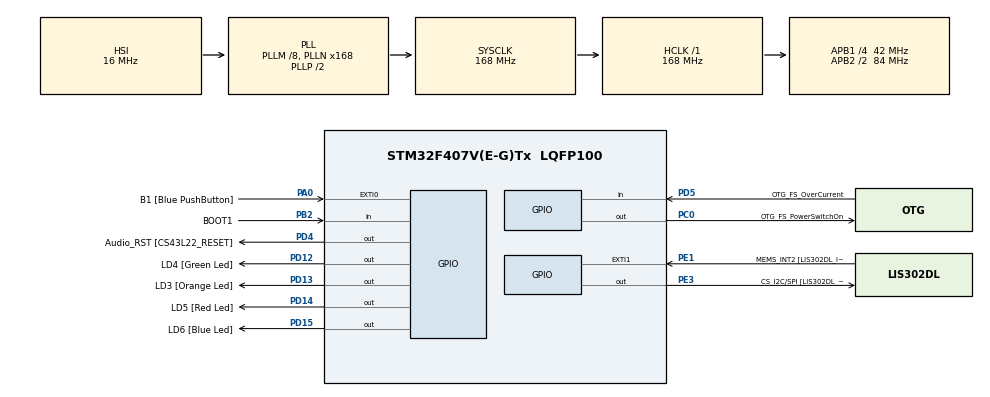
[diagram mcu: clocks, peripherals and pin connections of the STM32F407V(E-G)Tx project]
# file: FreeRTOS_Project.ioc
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Mcu.Family=STM32F4
Mcu.Name=STM32F407V(E-G)Tx
Mcu.Package=LQFP100
NVIC.PriorityGroup=NVIC_PRIORITYGROUP_4
NVIC.TIM6_DAC_IRQn=true\:0\:0\:false\:false\:true\:false\:true\:true
NVIC.TimeBase=TIM6_DAC_IRQn
NVIC.TimeBaseIP=TIM6
PA0-WKUP.GPIO_Label=B1 [Blue PushButton]
PA0-WKUP.Signal=GPXTI0
PA10.GPIO_Label=OTG_FS_ID
PA10.GPIO_Mode=GPIO_MODE_AF_PP
PA10.GPIO_PuPd=GPIO_NOPULL
PA10.GPIO_Speed=GPIO_SPEED_FREQ_LOW
PA10.Signal=USB_OTG_FS_ID
PA11.GPIO_Label=OTG_FS_DM
PA11.GPIO_Mode=GPIO_MODE_AF_PP
PA11.GPIO_PuPd=GPIO_NOPULL
PA11.GPIO_Speed=GPIO_SPEED_FREQ_LOW
PA11.Signal=USB_OTG_FS_DM
PA12.GPIO_Label=OTG_FS_DP
PA12.GPIO_Mode=GPIO_MODE_AF_PP
PA12.GPIO_PuPd=GPIO_NOPULL
PA12.GPIO_Speed=GPIO_SPEED_FREQ_LOW
PA12.Signal=USB_OTG_FS_DP
PA13.GPIO_Label=SWDIO
PA13.Signal=SYS_JTMS-SWDIO
PA14.GPIO_Label=SWCLK
PA14.Signal=SYS_JTCK-SWCLK
PA4.GPIO_Label=I2S3_WS [CS43L22_LRCK]
PA4.GPIO_Mode=GPIO_MODE_AF_PP
PA4.GPIO_PuPd=GPIO_NOPULL
PA4.GPIO_Speed=GPIO_SPEED_FREQ_LOW
PA4.Signal=I2S3_WS
PA5.GPIO_Label=SPI1_SCK [LIS302DL_SCL/SPC]
PA5.GPIO_Mode=GPIO_MODE_AF_PP
PA5.GPIO_PuPd=GPIO_NOPULL
PA5.GPIO_Speed=GPIO_SPEED_FREQ_LOW
PA5.Signal=SPI1_SCK
PA6.GPIO_Label=SPI1_MISO [LIS302DL_SDO]
PA6.GPIO_Mode=GPIO_MODE_AF_PP
PA6.GPIO_PuPd=GPIO_NOPULL
PA6.GPIO_Speed=GPIO_SPEED_FREQ_LOW
PA6.Signal=SPI1_MISO
PA7.GPIO_Label=SPI1_MOSI [LIS302DL_SDA/SDI/SDO]
PA7.GPIO_Mode=GPIO_MODE_AF_PP
PA7.GPIO_PuPd=GPIO_NOPULL
PA7.GPIO_Speed=GPIO_SPEED_FREQ_LOW
PA7.Signal=SPI1_MOSI
PA9.GPIO_Label=VBUS_FS
PA9.GPIO_Mode=GPIO_MODE_INPUT
PA9.GPIO_PuPd=GPIO_NOPULL
PA9.Signal=USB_OTG_FS_VBUS
PB10.GPIO_Label=CLK_IN [MP45DT02_CLK]
PB10.GPIO_Mode=GPIO_MODE_AF_PP
PB10.GPIO_PuPd=GPIO_NOPULL
PB10.GPIO_Speed=GPIO_SPEED_FREQ_LOW
PB10.Signal=I2S2_CK
PB2.GPIO_Label=BOOT1
PB2.GPIO_Mode=GPIO_MODE_INPUT
PB2.GPIO_PuPd=GPIO_NOPULL
PB2.Signal=GPIO_Input
PB3.GPIO_Label=SWO
PB3.Signal=SYS_JTDO-SWO
PB6.GPIO_Label=Audio_SCL [CS43L22_SCL]
PB6.GPIO_Mode=GPIO_MODE_AF_OD
PB6.GPIO_PuPd=GPIO_NOPULL
PB6.GPIO_Speed=GPIO_SPEED_FREQ_LOW
PB6.Signal=I2C1_SCL
PB9.GPIO_Label=Audio_SDA [CS43L22_SDA]
PB9.GPIO_Mode=GPIO_MODE_AF_OD
PB9.GPIO_PuPd=GPIO_NOPULL
PB9.GPIO_Speed=GPIO_SPEED_FREQ_LOW
PB9.Signal=I2C1_SDA
PC0.GPIO_Label=OTG_FS_PowerSwitchOn
PC0.GPIO_PuPd=GPIO_NOPULL
PC0.GPIO_Speed=GPIO_SPEED_FREQ_LOW
PC0.PinState=GPIO_PIN_SET
PC0.Signal=GPIO_Output
PC10.GPIO_Label=I2S3_SCK [CS43L22_SCLK]
PC10.GPIO_Mode=GPIO_MODE_AF_PP
PC10.GPIO_PuPd=GPIO_NOPULL
PC10.GPIO_Speed=GPIO_SPEED_FREQ_LOW
PC10.Signal=I2S3_CK
PC12.GPIO_Label=I2S3_SD [CS43L22_SDIN]
PC12.GPIO_Mode=GPIO_MODE_AF_PP
PC12.GPIO_PuPd=GPIO_NOPULL
PC12.GPIO_Speed=GPIO_SPEED_FREQ_LOW
PC12.Signal=I2S3_SD
PC14-OSC32_IN.GPIO_Label=PC14-OSC32_IN
PC14-OSC32_IN.Signal=RCC_OSC32_IN
PC15-OSC32_OUT.GPIO_Label=PC15-OSC32_OUT
PC15-OSC32_OUT.Signal=RCC_OSC32_OUT
PC3.GPIO_Label=PDM_OUT [MP45DT02_DOUT]
PC3.GPIO_Mode=GPIO_MODE_AF_PP
PC3.GPIO_PuPd=GPIO_NOPULL
PC3.GPIO_Speed=GPIO_SPEED_FREQ_LOW
PC3.Signal=I2S2_SD
PC7.GPIO_Label=I2S3_MCK [CS43L22_MCLK]
PC7.GPIO_Mode=GPIO_MODE_AF_PP
PC7.GPIO_PuPd=GPIO_NOPULL
PC7.GPIO_Speed=GPIO_SPEED_FREQ_LOW
PC7.Signal=I2S3_MCK
PD12.GPIO_Label=LD4 [Green Led]
PD12.GPIO_PuPd=GPIO_NOPULL
PD12.GPIO_Speed=GPIO_SPEED_FREQ_LOW
PD12.Signal=GPIO_Output
PD13.GPIO_Label=LD3 [Orange Led]
PD13.GPIO_PuPd=GPIO_NOPULL
PD13.GPIO_Speed=GPIO_SPEED_FREQ_LOW
PD13.Signal=GPIO_Output
PD14.GPIO_Label=LD5 [Red Led]
PD14.GPIO_PuPd=GPIO_NOPULL
PD14.GPIO_Speed=GPIO_SPEED_FREQ_LOW
PD14.Signal=GPIO_Output
PD15.GPIO_Label=LD6 [Blue Led]
PD15.GPIO_PuPd=GPIO_NOPULL
PD15.GPIO_Speed=GPIO_SPEED_FREQ_LOW
PD15.Signal=GPIO_Output
PD4.GPIO_Label=Audio_RST [CS43L22_RESET]
PD4.GPIO_PuPd=GPIO_NOPULL
PD4.GPIO_Speed=GPIO_SPEED_FREQ_LOW
PD4.Signal=GPIO_Output
PD5.GPIO_Label=OTG_FS_OverCurrent
PD5.GPIO_Mode=GPIO_MODE_INPUT
PD5.GPIO_PuPd=GPIO_NOPULL
PD5.Signal=GPIO_Input
PE1.GPIO_Label=MEMS_INT2 [LIS302DL_INT2]
PE1.GPIO_ModeDefaultEXTI=GPIO_MODE_EVT_RISING
PE1.GPIO_PuPd=GPIO_NOPULL
PE1.Signal=GPXTI1
PE3.GPIO_Label=CS_I2C/SPI [LIS302DL_CS_I2C/SPI]
PE3.GPIO_PuPd=GPIO_NOPULL
PE3.GPIO_Speed=GPIO_SPEED_FREQ_LOW
PE3.Signal=GPIO_Output
PH0-OSC_IN.GPIO_Label=PH0-OSC_IN
PH0-OSC_IN.Signal=RCC_OSC_IN
PH1-OSC_OUT.GPIO_Label=PH1-OSC_OUT
PH1-OSC_OUT.Signal=RCC_OSC_OUT
ProjectManager.HeapSize=0x200
ProjectManager.StackSize=0x400
ProjectManager.TargetToolchain=STM32CubeIDE
RCC.48MHZClocksFreq_Value=48000000
RCC.AHBFreq_Value=168000000
RCC.APB1CLKDivider=RCC_HCLK_DIV4
RCC.APB1Freq_Value=42000000
RCC.APB1TimFreq_Value=84000000
RCC.APB2CLKDivider=RCC_HCLK_DIV2
RCC.APB2Freq_Value=84000000
RCC.APB2TimFreq_Value=168000000
RCC.CortexFreq_Value=168000000
RCC.HCLKFreq_Value=168000000
RCC.HSE_VALUE=8000000
RCC.HSI_VALUE=16000000
RCC.LSE_VALUE=32768
RCC.PLLM=8
RCC.PLLN=168
RCC.PLLQ=7
RCC.SYSCLKFreq_VALUE=168000000
RCC.SYSCLKSource=RCC_SYSCLKSOURCE_PLLCLK
RCC.VCOOutputFreq_Value=336000000
VP_SYS_VS_tim6.Mode=TIM6
board=STM32F407G-DISC1

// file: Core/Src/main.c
/* USER CODE BEGIN Header */
/**
  ******************************************************************************
  * @file           : main.c
  * @brief          : Main program body
  ******************************************************************************
  * @attention
  *
  * Copyright (c) 2026 STMicroelectronics.
  * All rights reserved.
  *
  * This software is licensed under terms that can be found in the LICENSE file
  * in the root directory of this software component.
  * If no LICENSE file comes with this software, it is provided AS-IS.
  *
  ******************************************************************************
  */
/* USER CODE END Header */
#include "main.h"

/* USER CODE BEGIN Includes */
#include "FreeRTOS.h"
#include "task.h"
#include <stdio.h>
/* USER CODE END Includes */

/* USER CODE BEGIN PV */
#define DWT_CTRL (*(volatile uint32_t*)0xE0001000)
/* USER CODE END PV */

void SystemClock_Config(void);
static void MX_GPIO_Init(void);
/* USER CODE BEGIN PFP */
static void task1_handler(void* parameters);
static void task2_handler(void* parameters);
/* USER CODE END PFP */

int main(void)
{

  /* USER CODE BEGIN 1 */
  TaskHandle_t task1Handle;
  TaskHandle_t task2Handle;
  BaseType_t status;
  /* USER CODE END 1 */

  /* MCU Configuration--------------------------------------------------------*/

  /* Reset of all peripherals, Initializes the Flash interface and the Systick. */
  HAL_Init();

  /* Configure the system clock */
  SystemClock_Config();

  /* Initialize all configured peripherals */
  MX_GPIO_Init();
  /* USER CODE BEGIN 2 */

  // Enable the DWT CYCCNT counter USING THE 0 th bit of the DWT_CTRL register to record the timestamp of the events in the SystemView.
  DWT_CTRL |= (1 << 0);

  // Enable SEGGER UART recording to send the events to the SEGGER SystemView tool. The UART is configured in the segger_uart.c file.
  SEGGER_UART_init(500000);
  // call the APIs for the Segger sysview configuration and start of event recording.
  SEGGER_SYSVIEW_Conf();
  // SEGGER_SYSVIEW_Start();

  status = xTaskCreate(task1_handler,"Task-1",200,"Hello from task 1",2,&task1Handle);

  configASSERT(status == pdPASS);

  status = xTaskCreate(task2_handler,"Task-2",200,"Hello from task 2",2,&task2Handle);

  configASSERT(status == pdPASS);

  //start the FreeRTOS scheduler
  vTaskStartScheduler();
  // The above function never returns it it returns then the scheduler has failed due to insufficient memory in the heap.

  /* USER CODE END 2 */

  /* Infinite loop */
  while (1)
  {

  }
}

void SystemClock_Config(void)
{
  RCC_OscInitTypeDef RCC_OscInitStruct = {0};
  RCC_ClkInitTypeDef RCC_ClkInitStruct = {0};

  /** Configure the main internal regulator output voltage
  */
  __HAL_RCC_PWR_CLK_ENABLE();
  __HAL_PWR_VOLTAGESCALING_CONFIG(PWR_REGULATOR_VOLTAGE_SCALE1);

  /** Initializes the RCC Oscillators according to the specified parameters
  * in the RCC_OscInitTypeDef structure.
  */
  RCC_OscInitStruct.OscillatorType = RCC_OSCILLATORTYPE_HSI;
  RCC_OscInitStruct.HSIState = RCC_HSI_ON;
  RCC_OscInitStruct.HSICalibrationValue = RCC_HSICALIBRATION_DEFAULT;
  RCC_OscInitStruct.PLL.PLLState = RCC_PLL_ON;
  RCC_OscInitStruct.PLL.PLLSource = RCC_PLLSOURCE_HSI;
  RCC_OscInitStruct.PLL.PLLM = 8;
  RCC_OscInitStruct.PLL.PLLN = 168;
  RCC_OscInitStruct.PLL.PLLP = RCC_PLLP_DIV2;
  RCC_OscInitStruct.PLL.PLLQ = 7;
  if (HAL_RCC_OscConfig(&RCC_OscInitStruct) != HAL_OK)
  {
    Error_Handler();
  }

  /** Initializes the CPU, AHB and APB buses clocks
  */
  RCC_ClkInitStruct.ClockType = RCC_CLOCKTYPE_HCLK|RCC_CLOCKTYPE_SYSCLK
                              |RCC_CLOCKTYPE_PCLK1|RCC_CLOCKTYPE_PCLK2;
  RCC_ClkInitStruct.SYSCLKSource = RCC_SYSCLKSOURCE_PLLCLK;
  RCC_ClkInitStruct.AHBCLKDivider = RCC_SYSCLK_DIV1;
  RCC_ClkInitStruct.APB1CLKDivider = RCC_HCLK_DIV4;
  RCC_ClkInitStruct.APB2CLKDivider = RCC_HCLK_DIV2;

  if (HAL_RCC_ClockConfig(&RCC_ClkInitStruct, FLASH_LATENCY_5) != HAL_OK)
  {
    Error_Handler();
  }
}

static void MX_GPIO_Init(void)
{
  GPIO_InitTypeDef GPIO_InitStruct = {0};

  /* GPIO Ports Clock Enable */
  __HAL_RCC_GPIOE_CLK_ENABLE();
  __HAL_RCC_GPIOC_CLK_ENABLE();
  __HAL_RCC_GPIOH_CLK_ENABLE();
  __HAL_RCC_GPIOA_CLK_ENABLE();
  __HAL_RCC_GPIOB_CLK_ENABLE();
  __HAL_RCC_GPIOD_CLK_ENABLE();

  /*Configure GPIO pin Output Level */
  HAL_GPIO_WritePin(CS_I2C_SPI_GPIO_Port, CS_I2C_SPI_Pin, GPIO_PIN_RESET);

  /*Configure GPIO pin Output Level */
  HAL_GPIO_WritePin(OTG_FS_PowerSwitchOn_GPIO_Port, OTG_FS_PowerSwitchOn_Pin, GPIO_PIN_SET);

  /*Configure GPIO pin Output Level */
  HAL_GPIO_WritePin(GPIOD, LD4_Pin|LD3_Pin|LD5_Pin|LD6_Pin
                          |Audio_RST_Pin, GPIO_PIN_RESET);

  /*Configure GPIO pin : CS_I2C_SPI_Pin */
  GPIO_InitStruct.Pin = CS_I2C_SPI_Pin;
  GPIO_InitStruct.Mode = GPIO_MODE_OUTPUT_PP;
  GPIO_InitStruct.Pull = GPIO_NOPULL;
  GPIO_InitStruct.Speed = GPIO_SPEED_FREQ_LOW;
  HAL_GPIO_Init(CS_I2C_SPI_GPIO_Port, &GPIO_InitStruct);

  /*Configure GPIO pin : OTG_FS_PowerSwitchOn_Pin */
  GPIO_InitStruct.Pin = OTG_FS_PowerSwitchOn_Pin;
  GPIO_InitStruct.Mode = GPIO_MODE_OUTPUT_PP;
  GPIO_InitStruct.Pull = GPIO_NOPULL;
  GPIO_InitStruct.Speed = GPIO_SPEED_FREQ_LOW;
  HAL_GPIO_Init(OTG_FS_PowerSwitchOn_GPIO_Port, &GPIO_InitStruct);

  /*Configure GPIO pin : PDM_OUT_Pin */
  GPIO_InitStruct.Pin = PDM_OUT_Pin;
  GPIO_InitStruct.Mode = GPIO_MODE_AF_PP;
  GPIO_InitStruct.Pull = GPIO_NOPULL;
  GPIO_InitStruct.Speed = GPIO_SPEED_FREQ_LOW;
  GPIO_InitStruct.Alternate = GPIO_AF5_SPI2;
  HAL_GPIO_Init(PDM_OUT_GPIO_Port, &GPIO_InitStruct);

  /*Configure GPIO pin : B1_Pin */
  GPIO_InitStruct.Pin = B1_Pin;
  GPIO_InitStruct.Mode = GPIO_MODE_IT_RISING;
  GPIO_InitStruct.Pull = GPIO_NOPULL;
  HAL_GPIO_Init(B1_GPIO_Port, &GPIO_InitStruct);

  /*Configure GPIO pin : I2S3_WS_Pin */
  GPIO_InitStruct.Pin = I2S3_WS_Pin;
  GPIO_InitStruct.Mode = GPIO_MODE_AF_PP;
  GPIO_InitStruct.Pull = GPIO_NOPULL;
  GPIO_InitStruct.Speed = GPIO_SPEED_FREQ_LOW;
  GPIO_InitStruct.Alternate = GPIO_AF6_SPI3;
  HAL_GPIO_Init(I2S3_WS_GPIO_Port, &GPIO_InitStruct);

  /*Configure GPIO pins : SPI1_SCK_Pin SPI1_MISO_Pin SPI1_MOSI_Pin */
  GPIO_InitStruct.Pin = SPI1_SCK_Pin|SPI1_MISO_Pin|SPI1_MOSI_Pin;
  GPIO_InitStruct.Mode = GPIO_MODE_AF_PP;
  GPIO_InitStruct.Pull = GPIO_NOPULL;
  GPIO_InitStruct.Speed = GPIO_SPEED_FREQ_LOW;
  GPIO_InitStruct.Alternate = GPIO_AF5_SPI1;
  HAL_GPIO_Init(GPIOA, &GPIO_InitStruct);

  /*Configure GPIO pin : BOOT1_Pin */
  GPIO_InitStruct.Pin = BOOT1_Pin;
  GPIO_InitStruct.Mode = GPIO_MODE_INPUT;
  GPIO_InitStruct.Pull = GPIO_NOPULL;
  HAL_GPIO_Init(BOOT1_GPIO_Port, &GPIO_InitStruct);

  /*Configure GPIO pin : CLK_IN_Pin */
  GPIO_InitStruct.Pin = CLK_IN_Pin;
  GPIO_InitStruct.Mode = GPIO_MODE_AF_PP;
  GPIO_InitStruct.Pull = GPIO_NOPULL;
  GPIO_InitStruct.Speed = GPIO_SPEED_FREQ_LOW;
  GPIO_InitStruct.Alternate = GPIO_AF5_SPI2;
  HAL_GPIO_Init(CLK_IN_GPIO_Port, &GPIO_InitStruct);

  /*Configure GPIO pins : LD4_Pin LD3_Pin LD5_Pin LD6_Pin
                           Audio_RST_Pin */
  GPIO_InitStruct.Pin = LD4_Pin|LD3_Pin|LD5_Pin|LD6_Pin
                          |Audio_RST_Pin;
  GPIO_InitStruct.Mode = GPIO_MODE_OUTPUT_PP;
  GPIO_InitStruct.Pull = GPIO_NOPULL;
  GPIO_InitStruct.Speed = GPIO_SPEED_FREQ_LOW;
  HAL_GPIO_Init(GPIOD, &GPIO_InitStruct);

  /*Configure GPIO pins : I2S3_MCK_Pin I2S3_SCK_Pin I2S3_SD_Pin */
  GPIO_InitStruct.Pin = I2S3_MCK_Pin|I2S3_SCK_Pin|I2S3_SD_Pin;
  GPIO_InitStruct.Mode = GPIO_MODE_AF_PP;
  GPIO_InitStruct.Pull = GPIO_NOPULL;
  GPIO_InitStruct.Speed = GPIO_SPEED_FREQ_LOW;
  GPIO_InitStruct.Alternate = GPIO_AF6_SPI3;
  HAL_GPIO_Init(GPIOC, &GPIO_InitStruct);

  /*Configure GPIO pin : VBUS_FS_Pin */
  GPIO_InitStruct.Pin = VBUS_FS_Pin;
  GPIO_InitStruct.Mode = GPIO_MODE_INPUT;
  GPIO_InitStruct.Pull = GPIO_NOPULL;
  HAL_GPIO_Init(VBUS_FS_GPIO_Port, &GPIO_InitStruct);

  /*Configure GPIO pins : OTG_FS_ID_Pin OTG_FS_DM_Pin OTG_FS_DP_Pin */
  GPIO_InitStruct.Pin = OTG_FS_ID_Pin|OTG_FS_DM_Pin|OTG_FS_DP_Pin;
  GPIO_InitStruct.Mode = GPIO_MODE_AF_PP;
  GPIO_InitStruct.Pull = GPIO_NOPULL;
  GPIO_InitStruct.Speed = GPIO_SPEED_FREQ_LOW;
  GPIO_InitStruct.Alternate = GPIO_AF10_OTG_FS;
  HAL_GPIO_Init(GPIOA, &GPIO_InitStruct);

  /*Configure GPIO pin : OTG_FS_OverCurrent_Pin */
  GPIO_InitStruct.Pin = OTG_FS_OverCurrent_Pin;
  GPIO_InitStruct.Mode = GPIO_MODE_INPUT;
  GPIO_InitStruct.Pull = GPIO_NOPULL;
  HAL_GPIO_Init(OTG_FS_OverCurrent_GPIO_Port, &GPIO_InitStruct);

  /*Configure GPIO pins : Audio_SCL_Pin Audio_SDA_Pin */
  GPIO_InitStruct.Pin = Audio_SCL_Pin|Audio_SDA_Pin;
  GPIO_InitStruct.Mode = GPIO_MODE_AF_OD;
  GPIO_InitStruct.Pull = GPIO_NOPULL;
  GPIO_InitStruct.Speed = GPIO_SPEED_FREQ_LOW;
  GPIO_InitStruct.Alternate = GPIO_AF4_I2C1;
  HAL_GPIO_Init(GPIOB, &GPIO_InitStruct);

  /*Configure GPIO pin : MEMS_INT2_Pin */
  GPIO_InitStruct.Pin = MEMS_INT2_Pin;
  GPIO_InitStruct.Mode = GPIO_MODE_EVT_RISING;
  GPIO_InitStruct.Pull = GPIO_NOPULL;
  HAL_GPIO_Init(MEMS_INT2_GPIO_Port, &GPIO_InitStruct);

}

/* USER CODE BEGIN 4 */
static void task1_handler(void* parameters)
{
  //the handler should have a infinite while loop
  while (1)
  {
    char msg[100];
    snprintf(msg,100,"%s\n",(char*)parameters);
    SEGGER_SYSVIEW_PrintfTarget(msg);
    //  printf("%s\n",parameters);
     //we might see the print statements to be random due to pre-emption which causes the task to context switch to another task of same
     // or higher priority even if the task is not completed to stop pre-emption we can reset configUSE_PREEMPTION to 0 in FreeRTOSConfig.h
     //For non preemptive or cooperative schedule we can yield the task once it is completed by using
     taskYIELD();
  }

}
static void task2_handler(void* parameters)
{
  while (1)
  {
    char msg[100];
    snprintf(msg,100,"%s\n",(char*)parameters);
    //prints on the SEGGER SystemView timeline/log via UART.
    SEGGER_SYSVIEW_PrintfTarget(msg);
    // printf("%s\n",parameters);
    taskYIELD();
  }

}
/* USER CODE END 4 */

void HAL_TIM_PeriodElapsedCallback(TIM_HandleTypeDef *htim)
{
  if (htim->Instance == TIM6)
  {
    HAL_IncTick();
  }
}

void Error_Handler(void)
{
  __disable_irq();
  while (1)
  {
  }
}
